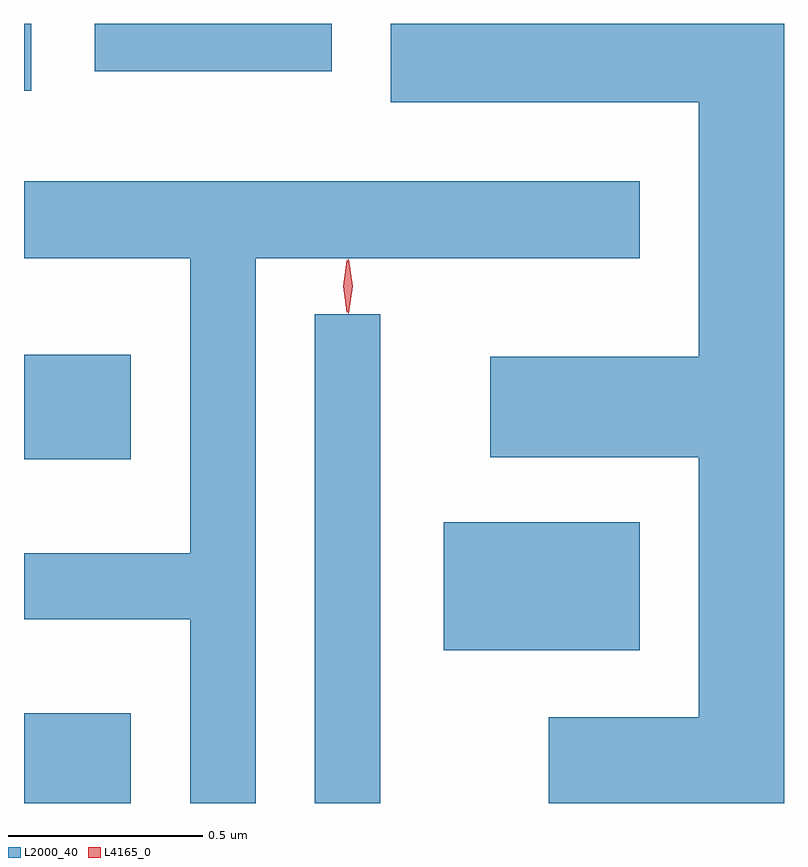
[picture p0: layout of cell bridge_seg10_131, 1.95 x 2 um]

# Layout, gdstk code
import gdstk
lib = gdstk.Library(unit=1e-6, precision=1e-09)
def R(c, l, rs):  # rectangles x0, y0, x1, y1
    for r in rs: c.add(gdstk.rectangle(r[:2], r[2:], *l))
def P(c, l, *ps):  # polygons
    for p in ps: c.add(gdstk.Polygon(p, *l))
L2000_40 = (2000, 40)
L4165_0 = (4165, 0)

bridge_seg10_131 = lib.new_cell('bridge_seg10_131')
R(bridge_seg10_131, L2000_40, [(1626.295,2140.918,1626.569,2141.149), (1627.041,2140.918,1627.209,2142.173), (1627.371,2141.311,1627.874,2141.639), (1626.295,2141.801,1626.569,2142.069), (1626.295,2142.746,1626.314,2142.918), (1626.476,2142.796,1627.084,2142.918)])
P(bridge_seg10_131, L2000_40, [(1628.244,2142.918),(1627.236,2142.918),(1627.236,2142.716),(1628.026,2142.716),(1628.026,2142.064),(1627.491,2142.064),(1627.491,2141.806),(1628.026,2141.806),(1628.026,2141.139),(1627.641,2141.139),(1627.641,2140.918),(1628.244,2140.918)],
  [(1626.889,2142.316),(1627.874,2142.316),(1627.874,2142.514),(1626.295,2142.514),(1626.295,2142.316),(1626.721,2142.316),(1626.721,2141.559),(1626.295,2141.559),(1626.295,2141.391),(1626.721,2141.391),(1626.721,2140.918),(1626.889,2140.918)])
P(bridge_seg10_131, L4165_0, [(1627.128,2142.174),(1627.127,2142.175),(1627.118,2142.244),(1627.127,2142.313),(1627.128,2142.314),(1627.128,2142.313),(1627.138,2142.244),(1627.128,2142.175)],
  [(1627.123,2142.178),(1627.114,2142.244),(1627.123,2142.311),(1627.124,2142.311),(1627.124,2142.311),(1627.134,2142.244),(1627.124,2142.178),(1627.124,2142.178)])

lib.write_gds('bridge_seg10_131.gds')
